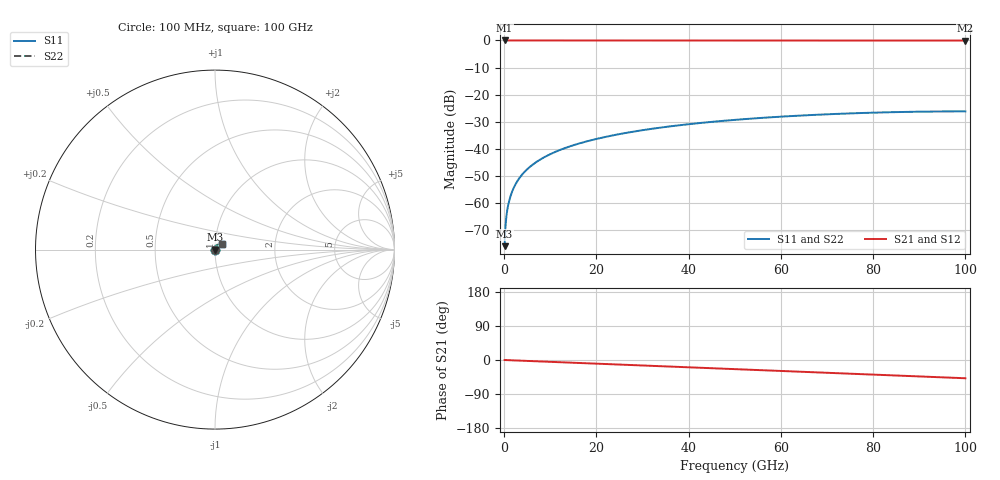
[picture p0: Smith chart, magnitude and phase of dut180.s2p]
! Touchstone file exported from HFSS 2026.1.0
!  File:  C:/ffzhzh/LocalFiles/Ansys_Project_Files/temp_train_TSV_180_1783507108_44152.aedt
!  Generated:  06:39:46 PM Jul  8, 2026
!  Design:  TSV
!  Project:  temp_train_TSV_180_1783507108_44152
! Variables:
!  h_bsmrdl = 2um
!  h_ox = 20um
!  h_rdl = 5um
!  h_sub = 95.6um
!  h_tmrdl = 5um
!  h_tsv = 95.6um
!  h_via = 3um
!  l_bsmrdl = 300um
!  l_sub = 424.84um
!  l_tmrdl = 200um
!  m_sub = 200um
!  pitch = 55.3um
!  r_tsv = 12.42um
!  s_tmrdl = 10um
!  w_bsmrdl = 18um
!  w_sub = 500um
!  w_tmrdl = 12um
!  x_tsv_center1 = 206um
!  x_tsv_center2 = 524um
!  x_tsv_center3 = 736um
!  x_tsv_center4 = 1054um
!  x_tsv_center5 = 1266um
!  x_tsv_center6 = 1584um
# GHz S MA R 50.000000
! Terminal data exported
! Port[1] = TSV1_1_T1
! Port[2] = TSV1_1_T2
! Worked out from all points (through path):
!   1000 points, 100 MHz to 100 GHz, reference 50 ohm
!   highest |S21| = 0.00 dB at 100 MHz (marker M1); lowest = 0.0 dB at 100 GHz (marker M2)
!   group delay of S21, straight-line fit = 1.34 ps
!   lowest |S11| = -75.9 dB at 100 MHz (marker M3), VSWR 1.00, Z = 50 + j0.0124 ohm
!   |S11| at or under -10 dB: start of sweep to end of sweep
!   |S22| runs from -75.9 to -26.2 dB; largest |S21 - S12| = 4.8e-15
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0.1  0.0001611 50.1  0.9999 -0.1  0.9999 -0.1  0.0001611 50.1
! Gamma 0 0 0 0
! Port Impedance 50 0 50 0
0.3  0.0003806 68.1  0.9999 -0.2  0.9999 -0.2  0.0003806 68.1
0.7  0.0007693 72.2  0.9998 -0.3  0.9998 -0.3  0.0007693 72.2
0.8  0.0008571 72.7  0.9997 -0.4  0.9997 -0.4  0.0008571 72.7
1  0.001028 73.7  0.9997 -0.5  0.9997 -0.5  0.001028 73.7
1.3  0.001279 75.0  0.9997 -0.6  0.9997 -0.6  0.001279 75.0
1.8  0.001692 76.5  0.9996 -0.9  0.9996 -0.9  0.001692 76.5
2.4  0.00218 77.6  0.9996 -1.2  0.9996 -1.2  0.00218 77.6
3.1  0.00274 78.3  0.9995 -1.5  0.9995 -1.5  0.00274 78.3
3.9  0.003369 78.7  0.9994 -1.9  0.9994 -1.9  0.003369 78.7
4.9  0.004143 79.1  0.9994 -2.4  0.9994 -2.4  0.004143 79.1
6.1  0.005063 79.3  0.9993 -3.0  0.9993 -3.0  0.005063 79.3
8.9  0.007183 79.1  0.9991 -4.3  0.9991 -4.3  0.007183 79.1
12.4  0.009789 78.2  0.999 -6.0  0.999 -6.0  0.009789 78.2
16.8  0.01299 76.8  0.9988 -8.1  0.9988 -8.1  0.01299 76.8
24.2  0.01822 74.0  0.9984 -11.6  0.9984 -11.6  0.01822 74.0
33.4  0.02441 70.2  0.9981 -16.1  0.9981 -16.1  0.02441 70.2
41.3  0.02936 66.7  0.9977 -19.9  0.9977 -19.9  0.02936 66.7
50.1  0.0344 62.8  0.9974 -24.1  0.9974 -24.1  0.0344 62.7
66.7  0.04224 55.1  0.9968 -32.1  0.9968 -32.1  0.04224 55.1
83.4  0.04745 47.3  0.9962 -40.1  0.9962 -40.1  0.04745 47.2
100  0.0492 39.5  0.9956 -48.2  0.9956 -48.2  0.0492 39.4
